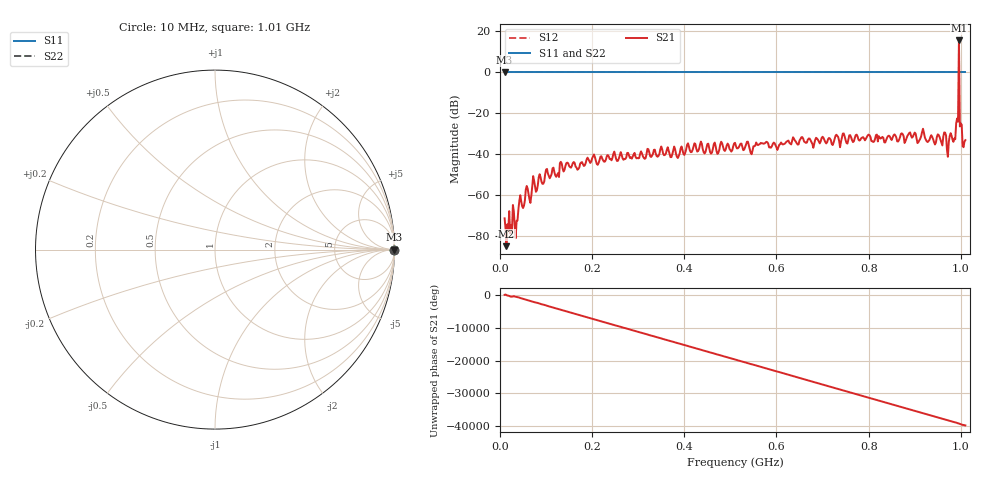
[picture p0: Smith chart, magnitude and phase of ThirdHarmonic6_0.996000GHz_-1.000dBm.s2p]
! 8/16/2025 7:58:19 AM
! C:\ANRITSUVNA\TEMP\TEMP.S2P
! CHANNEL.1
! TR.MEASUREMENT
! RAW.DATA
! RF.CORRECTION.OFF
! AVERAGING.OFF
! IF.BANDWIDTH: 5KHZ
! SWEEPTYPE:  FREQ.SWEEP(Linear)
! Reference Plane Port Info
! PORT:  PORT1  PORT2
! DISTANCE:  0  m  0  m
! TIME:  0  s  0  s
! PHASE.OFFSET:  0  deg.  0  deg.
! LOSS:  0  dB  0  dB
! REF.LOSS:  0  dB  0  dB
! REF.FREQ:  0  Hz  0  Hz
! Power Info
! POWER:  -20  dBm  -20  dBm
! EFF.POWER:  -20  dBm  -20  dBm
! SOURCE.ATTEN:  0  dB  0  dB
! TEST.ATTEN:  0  dB  0  dB
# GHZ S RI R 50.0
! FREQ.GHZ  S11RE  S11IM  S21RE  S21IM  S12RE  S12IM  S22RE  S22IM
!; PortSelection: Port_12
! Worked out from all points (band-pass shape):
!   501 points, 10 MHz to 1.01 GHz, reference 50 ohm
!   highest |S21| = 15.57 dB at 996 MHz (marker M1); lowest = -85.2 dB at 14 MHz (marker M2)
!   |S21| within 3 dB of the highest: 995.8494 MHz to 996.1424 MHz (293.1 kHz wide, 0.0294 % of centre)
!   lowest |S11| = 0.0 dB at 10 MHz (marker M3)
!   |S11| at or under -10 dB: nowhere
!   |S22| runs from 0.0 to 0.0 dB; largest |S21 - S12| = 5.3
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0.01  1 0  -0.000132 0.000228  1 0  1 0
0.014  1 0  3.45e-05 4.26e-05  1 0  1 0
0.036  1 0  -0.000228 1.28e-05  1 0  1 0
0.044  1 0  -0.000679 -0.000695  1 0  1 0
0.058  1 0  0.00156 0.000496  1 0  1 0
0.066  1 0  0.000343 0.000528  1 0  1 0
0.072  1 0  -0.0028 0.000537  1 0  1 0
0.102  1 0  0.00424 0.000526  1 0  1 0
0.178  1 0  -0.00613 0.00136  1 0  1 0
0.344  1 0  0.00795 -0.00405  1 0  1 0
0.51  1 0  -0.00789 0.0169  1 0  1 0
0.678  1 0  -0.0174 0.000481  1 0  1 0
0.844  1 0  0.0232 -0.0155  1 0  1 0
0.908  1 0  -0.00204 -0.0192  1 0  1 0
0.918  1 0  -0.0345 -0.0225  1 0  1 0
0.972  1 0  -0.00674 -0.00514  1 0  1 0
0.99  1 0  -0.031 -0.0476  1 0  1 0
0.992  1 0  -0.0388 0.0623  1 0  1 0
0.996  1 0  4.552 -3.916  1 0  1 0
1  1 0  -0.0203 0.0516  1 0  1 0
1.002  1 0  0.0518 0.000239  1 0  1 0
1.01  1 0  0.0025 0.0215  1 0  1 0
